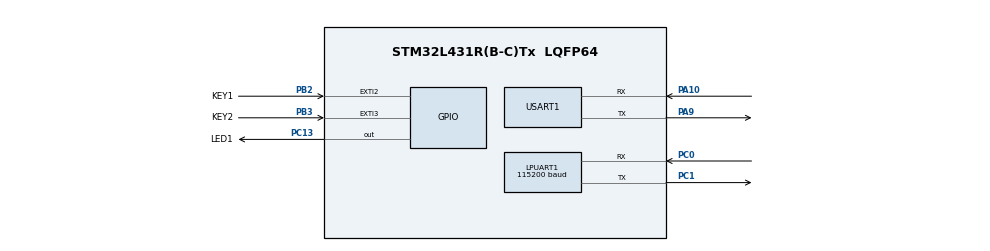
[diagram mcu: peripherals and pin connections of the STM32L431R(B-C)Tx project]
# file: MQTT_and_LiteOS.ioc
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Dma.LPUART_RX.1.Direction=DMA_PERIPH_TO_MEMORY
Dma.LPUART_RX.1.Instance=DMA2_Channel7
Dma.LPUART_RX.1.MemDataAlignment=DMA_MDATAALIGN_BYTE
Dma.LPUART_RX.1.MemInc=DMA_MINC_ENABLE
Dma.LPUART_RX.1.Mode=DMA_NORMAL
Dma.LPUART_RX.1.PeriphDataAlignment=DMA_PDATAALIGN_BYTE
Dma.LPUART_RX.1.PeriphInc=DMA_PINC_DISABLE
Dma.LPUART_RX.1.Priority=DMA_PRIORITY_LOW
Dma.Request0=USART1_RX
Dma.Request1=LPUART_RX
Dma.USART1_RX.0.Direction=DMA_PERIPH_TO_MEMORY
Dma.USART1_RX.0.Instance=DMA1_Channel5
Dma.USART1_RX.0.MemDataAlignment=DMA_MDATAALIGN_BYTE
Dma.USART1_RX.0.MemInc=DMA_MINC_ENABLE
Dma.USART1_RX.0.Mode=DMA_NORMAL
Dma.USART1_RX.0.PeriphDataAlignment=DMA_PDATAALIGN_BYTE
Dma.USART1_RX.0.PeriphInc=DMA_PINC_DISABLE
Dma.USART1_RX.0.Priority=DMA_PRIORITY_LOW
LPUART1.BaudRate=115200
LPUART1.WordLength=UART_WORDLENGTH_8B
Mcu.Family=STM32L4
Mcu.Name=STM32L431R(B-C)Tx
Mcu.Package=LQFP64
NVIC.DMA1_Channel5_IRQn=true\:0\:0\:false\:false\:true\:false
NVIC.DMA2_Channel7_IRQn=true\:0\:0\:false\:false\:true\:false
NVIC.EXTI2_IRQn=true\:0\:0\:false\:false\:true\:true
NVIC.EXTI3_IRQn=true\:0\:0\:false\:false\:true\:true
NVIC.LPUART1_IRQn=true\:0\:0\:false\:true\:true\:1\:true
NVIC.PriorityGroup=NVIC_PRIORITYGROUP_4
NVIC.USART1_IRQn=true\:0\:0\:false\:true\:true\:2\:true
PA10.Mode=Asynchronous
PA10.Signal=USART1_RX
PA9.Mode=Asynchronous
PA9.Signal=USART1_TX
PB2.GPIO_Label=KEY1
PB2.GPIO_ModeDefaultEXTI=GPIO_MODE_IT_FALLING
PB2.GPIO_PuPd=GPIO_PULLUP
PB2.Signal=GPXTI2
PB3\ (JTDO-TRACESWO).GPIO_Label=KEY2
PB3\ (JTDO-TRACESWO).GPIO_ModeDefaultEXTI=GPIO_MODE_IT_FALLING
PB3\ (JTDO-TRACESWO).GPIO_PuPd=GPIO_PULLUP
PB3\ (JTDO-TRACESWO).Signal=GPXTI3
PC0.Mode=Asynchronous
PC0.Signal=LPUART1_RX
PC1.Mode=Asynchronous
PC1.Signal=LPUART1_TX
PC13.GPIO_Label=LED1
PC13.Signal=GPIO_Output
PC14-OSC32_IN\ (PC14).Mode=LSE-External-Oscillator
PC14-OSC32_IN\ (PC14).Signal=RCC_OSC32_IN
PC15-OSC32_OUT\ (PC15).Mode=LSE-External-Oscillator
PC15-OSC32_OUT\ (PC15).Signal=RCC_OSC32_OUT
PH0-OSC_IN\ (PH0).Mode=HSE-External-Oscillator
PH0-OSC_IN\ (PH0).Signal=RCC_OSC_IN
PH1-OSC_OUT\ (PH1).Mode=HSE-External-Oscillator
PH1-OSC_OUT\ (PH1).Signal=RCC_OSC_OUT
ProjectManager.HeapSize=0x200
ProjectManager.StackSize=0x400
ProjectManager.TargetToolchain=MDK-ARM V5
RCC.HSE_VALUE=8000000
RCC.HSI48_VALUE=48000000
RCC.HSI_VALUE=16000000
RCC.MSI_VALUE=4000000
RCC.VCOOutputFreq_Value=32000000
USART1.VirtualMode-Asynchronous=VM_ASYNC
board=custom

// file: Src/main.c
/**
  ******************************************************************************
  * @file           : main.c
  * @brief          : Main program body
  ******************************************************************************
  ** This notice applies to any and all portions of this file
  * that are not between comment pairs USER CODE BEGIN and
  * USER CODE END. Other portions of this file, whether
  * inserted by the user or by software development tools
  * are owned by their respective copyright owners.
  *
  * COPYRIGHT(c) 2020 STMicroelectronics
  *
  * Redistribution and use in source and binary forms, with or without modification,
  * are permitted provided that the following conditions are met:
  *   1. Redistributions of source code must retain the above copyright notice,
  *      this list of conditions and the following disclaimer.
  *   2. Redistributions in binary form must reproduce the above copyright notice,
  *      this list of conditions and the following disclaimer in the documentation
  *      and/or other materials provided with the distribution.
  *   3. Neither the name of STMicroelectronics nor the names of its contributors
  *      may be used to endorse or promote products derived from this software
  *      without specific prior written permission.
  *
  * THIS SOFTWARE IS PROVIDED BY THE COPYRIGHT HOLDERS AND CONTRIBUTORS "AS IS"
  * AND ANY EXPRESS OR IMPLIED WARRANTIES, INCLUDING, BUT NOT LIMITED TO, THE
  * IMPLIED WARRANTIES OF MERCHANTABILITY AND FITNESS FOR A PARTICULAR PURPOSE ARE
  * DISCLAIMED. IN NO EVENT SHALL THE COPYRIGHT HOLDER OR CONTRIBUTORS BE LIABLE
  * FOR ANY DIRECT, INDIRECT, INCIDENTAL, SPECIAL, EXEMPLARY, OR CONSEQUENTIAL
  * DAMAGES (INCLUDING, BUT NOT LIMITED TO, PROCUREMENT OF SUBSTITUTE GOODS OR
  * SERVICES; LOSS OF USE, DATA, OR PROFITS; OR BUSINESS INTERRUPTION) HOWEVER
  * CAUSED AND ON ANY THEORY OF LIABILITY, WHETHER IN CONTRACT, STRICT LIABILITY,
  * OR TORT (INCLUDING NEGLIGENCE OR OTHERWISE) ARISING IN ANY WAY OUT OF THE USE
  * OF THIS SOFTWARE, EVEN IF ADVISED OF THE POSSIBILITY OF SUCH DAMAGE.
  *
  ******************************************************************************
  */
#include "main.h"
#include "stm32l4xx_hal.h"
#include "dma.h"
#include "usart.h"
#include "gpio.h"

/* USER CODE BEGIN Includes */
#include <stdio.h>
#include <stdlib.h>
#include "los_sys.h"
#include "los_task.ph"
#include "los_memory.ph"
#include "los_base.h"
#include <string.h>
#include "los_sem.h"
#include <time.h>
#include "queue.h"
#include "hex_dec.h"
#include "los_swtmr.h"

/* USER CODE END Includes */

/* USER CODE BEGIN PV */
/* Private variables ---------------------------------------------------------*/
#define MAX_RCV_LEN 1024
uint8_t data[MAX_RCV_LEN];
uint8_t data2[MAX_RCV_LEN];
uint8_t reply_from_lpuart1[MAX_RCV_LEN];
uint8_t KEY1_flag=0;
uint8_t KEY2_flag=0;
uint8_t alive_flag=0;
uint16_t lpuart1_recv_len=0;
uint16_t uart1_recv_len=0;

//123.56.118.82
uint8_t cmd_CRE_SOC[]={"AT+NSOCR=DGRAM,17,0\r\n"};//通过NB创建SOCKET，端口号随机

uint8_t SERVER_IP[] = {"39.102.103.94"};
uint8_t SERVER_PORT[] = {"8887"};

uint8_t send_cmd[1024];

uint8_t cmd_msg_reply[]={"AT+NSONMI=3\r\n"};//接收到信息直接报告，格式"+NSONMI: <socket>,<length>,<data>"

uint8_t cmd_msg_read[20]={"AT+NSORF=2,2\r\n"};
uint8_t cmd_msg_notice[]={"NSONMI"};
uint8_t receive_msg[MAX_RCV_LEN]={"\0"};
uint8_t cmd_msg_clear[]={"AT+NSORF=2,1000\r\n"};

uint8_t OK[]={"OK"};
//uint8_t send_cmd[128]={"AT+NSOSD=0,"};

uint8_t send_cmd_udp[128]={"AT+NSOST=0,"};

uint8_t NB_socket[1];
uint8_t shuzi[]={"0123456789"};

uint8_t cmd_CGATT[]={"AT+CGATT?\r\n"};//查询是否注网
uint8_t CGATT[]={"+CGATT:1"};

//定义全局的信息标志
uint8_t message_flag = 0;
int message_n = 0;

//初始化消息队列
	sqQueue mes_Q;

//定义周期性的定时器
UINT16 id1;// timer id

void USART_IDLECallBack(void);
void LPUART_IDLECallBack(void);
int mysizeof(uint8_t* cmd);
uint8_t* mystrstr(uint8_t* src,uint8_t* sub);

UINT32 LED_Task_Handle;
UINT32 ALIVE_Task_Handle;
UINT32 udpsocket_Task_Handle;
UINT32 CGATT_Task_Handle;
UINT32 FIRST_READ_Task_Handle;
UINT32 THINK_Task_Handle;
UINT32 CLEAR_Task_Handle;
UINT32 COMPREHENSION_Task_Handle;

UINT32 SUB_Binary;
UINT32 UDP_Binary;
UINT32 READ_Binary;
UINT32 THINK_Binary;

uint8_t NB_create_tcpsocket()
{
	int i=0;
	for(i=0;i<=20;i++)
	{
		HAL_UART_Transmit(&hlpuart1,cmd_CRE_SOC,mysizeof(cmd_CRE_SOC),0xff);
		LOS_TaskDelay(1000);
		if(NULL!=mystrstr(reply_from_lpuart1,OK))
		{
			NB_socket[0]=reply_from_lpuart1[2];
			printf("创建socket成功\r\n");
			break;
		}
	}
	if(21==i)
	{
		printf("创建socket失败\r\n");
		return 0;
	}

	LOS_TaskDelay(1000);
	for(i=0;i<=20;i++)
	{
		HAL_UART_Transmit(&hlpuart1,cmd_msg_reply,mysizeof(cmd_msg_reply),0xff);
		LOS_TaskDelay(1000);
		if(NULL!=mystrstr(reply_from_lpuart1,OK))
		{
			printf("cmd_msg_reply成功\r\n");
			break;
		}
	}
	if(21==i)
	{
		printf("cmd_msg_reply失败\r\n");
		return 0;
	}

	return 1;

}

uint8_t send_UDP_to_Ali(uint8_t* NB_socket,int n)
{

	//send_cmd[]={"AT+NSOST=2,123.56.240.120,8887,2,3132\r\n"};

	uint8_t n_string[20];
	uint8_t n_string_hex[40];
	memset(n_string_hex,0,40);

	sprintf(n_string,"s%d",n);
	arrayToStr(n_string,n_string_hex);
	//printf("n = %d,n_string = %s,n_stringlen= %d,n_string_hex = %s\r\n",n,n_string,strlen(n_string),n_string_hex);
	int n_size = (strlen(n_string))/2;
	memset(send_cmd,0,1024);
	sprintf(send_cmd,"AT+NSOST=%s,%s,%s,%d,%s\r\n",NB_socket,SERVER_IP,SERVER_PORT,strlen(n_string_hex)/2,n_string_hex);
	//printf("send_mes%s\r\n",send_cmd);

	int i=0;
	int j=0;

	for(j=0;j<=20;j++)
	{
		HAL_UART_Transmit(&hlpuart1,send_cmd,mysizeof(send_cmd),0xff);
		LOS_TaskDelay(50);
		if(NULL!=mystrstr(reply_from_lpuart1,OK))
		{
			printf("发送msg成功\r\n");
			break;
		}
	}
	if(21==j)
	{
		printf("发送msg失败\r\n");
		return 0;
	}

	return 1;
}

void LED_task()
{
	while(1)
	{
		HAL_GPIO_TogglePin(LED1_GPIO_Port,LED1_Pin);
		LOS_TaskDelay(10000);
	}
}

void alive_task()
{
	while(1)
	{
		LOS_TaskDelay(60000+(rand()%1000));
		if(send_UDP_to_Ali(NB_socket,message_n) == 1){
			printf("sendACK%d\n",message_n);

			UINT32 uwRet = LOS_OK;
			uwRet = LOS_SwtmrStart(id1);//启动单次软件定时器
			if(LOS_OK != uwRet)
			{
					printf("start Timer1 failed\n");
			}
			else
			{
					printf("start Timer1 sucess\n");
			}
		}

	}
}

void comprehension_task()
{
	while(1)
	{
		LOS_TaskDelay(5);
		char temp[100];
		while(DeQueue(&mes_Q,temp)){
			printf("tmep:%s\r\n",temp);
			if(mystrstr(temp,"+NSONMI")){

				uint8_t* s =strstr(temp,",");
				//printf("s1 : %s",s);
				s = strstr(s+1,",");
				//printf("s2 : %s",s);
				//printf("s2+3 : %s",s+3);
				int n = Fixed_key(s+3);
				//printf("n = %d,message_n = %d\r\n",n,message_n);
				if(n<message_n){
					continue;
				}
				printf("ACK%d\n",n);
				message_n +=1;
				UINT32 uwRet = LOS_OK;
				uwRet = LOS_SwtmrStop(id1);//停止周期软件定时器1

				if(LOS_OK != uwRet)
				{
						printf("stop Timer1 failed\n");
				}
				else
				{
						printf("stop Timer1 sucess\n");
				}

			}
			memset(temp,0,100);
		}
	}
}

void timer1_callback()
{
	if(send_UDP_to_Ali(NB_socket,message_n) == 1){
		printf("buchang:%d\r\n",message_n);
	}
}

void udpsocket_task()
{
	while(1)
	{
		LOS_SemPend(UDP_Binary,LOS_WAIT_FOREVER);
		uint8_t uwet=NB_create_tcpsocket();
		if(uwet==1)
			LOS_TaskResume(ALIVE_Task_Handle);
	}
}

void CGATT_task()
{
	while(1)
	{
		LOS_TaskDelay(5000);
		for(int i=0;i<10;i++)
		{
			HAL_UART_Transmit(&hlpuart1,cmd_CGATT,mysizeof(cmd_CGATT),0xff);
			LOS_TaskDelay(1000);
			if(NULL!=mystrstr(reply_from_lpuart1,CGATT))
			{
				LOS_SemPost(UDP_Binary);
				LOS_TaskSuspend(CGATT_Task_Handle);
			}
		}
	}
}

static UINT32 AppTaskCreate(void)
{

	UINT32 uwRet = LOS_OK;

	uwRet=LOS_SemCreate(1,&UDP_Binary);
	if (uwRet != LOS_OK)
	{
			printf("UDP_Binary create failed,%X\n",uwRet);
			return uwRet;
	}

	TSK_INIT_PARAM_S task_init_param;

	task_init_param.usTaskPrio = 6;
	task_init_param.pcName = "LEDTask";
	task_init_param.pfnTaskEntry = (TSK_ENTRY_FUNC)LED_task;
	task_init_param.uwStackSize = 1024;
	uwRet = LOS_TaskCreate(&LED_Task_Handle, &task_init_param);
	if (uwRet != LOS_OK)
	{
			printf("LEDtask create failed,%X\n",uwRet);
			return uwRet;
	}

	task_init_param.usTaskPrio = 5;
	task_init_param.pcName = "aliveTask";
	task_init_param.pfnTaskEntry = (TSK_ENTRY_FUNC)alive_task;
	task_init_param.uwStackSize = 1024;
	uwRet = LOS_TaskCreate(&ALIVE_Task_Handle, &task_init_param);
	if (uwRet != LOS_OK)
	{
			printf("ALIVEtask create failed,%X\n",uwRet);
			return uwRet;
	}

	task_init_param.usTaskPrio = 3;
	task_init_param.pcName = "UDPTask";
	task_init_param.pfnTaskEntry = (TSK_ENTRY_FUNC)udpsocket_task;
	task_init_param.uwStackSize = 1024;
	uwRet = LOS_TaskCreate(&udpsocket_Task_Handle, &task_init_param);
	if (uwRet != LOS_OK)
	{
			printf("udptask create failed,%X\n",uwRet);
			return uwRet;
	}

	task_init_param.usTaskPrio = 3;
	task_init_param.pcName = "CGATTTask";
	task_init_param.pfnTaskEntry = (TSK_ENTRY_FUNC)CGATT_task;
	task_init_param.uwStackSize = 1024;
	uwRet = LOS_TaskCreate(&CGATT_Task_Handle, &task_init_param);
	if (uwRet != LOS_OK)
	{
			printf("CGATTTask create failed,%X\n",uwRet);
			return uwRet;
	}

	task_init_param.usTaskPrio = 0;
	task_init_param.pcName = "comprehension_task";
	task_init_param.pfnTaskEntry = (TSK_ENTRY_FUNC)comprehension_task;
	task_init_param.uwStackSize = 1024;
	uwRet = LOS_TaskCreate(&COMPREHENSION_Task_Handle, &task_init_param);
	if (uwRet != LOS_OK)
	{
			printf("COMPREHENSION_Task create failed,%X\n",uwRet);
			return uwRet;
	}

	return LOS_OK;
}

/* USER CODE END PV */

void SystemClock_Config(void);
static void MX_NVIC_Init(void);

/* USER CODE BEGIN PFP */
/* Private function prototypes -----------------------------------------------*/

/* USER CODE END PFP */

int main(void)
{

  /* MCU Configuration----------------------------------------------------------*/

  /* Reset of all peripherals, Initializes the Flash interface and the Systick. */
  HAL_Init();

  /* Configure the system clock */
  SystemClock_Config();

  /* Initialize all configured peripherals */
  MX_GPIO_Init();
  MX_DMA_Init();
  MX_USART1_UART_Init();
  MX_LPUART1_UART_Init();

  /* Initialize interrupts */
  MX_NVIC_Init();
  /* USER CODE BEGIN 2 */

	memset(data,0,MAX_RCV_LEN);
	memset(data2,0,MAX_RCV_LEN);
	memset(reply_from_lpuart1,0,MAX_RCV_LEN);

	__HAL_UART_ENABLE_IT(&huart1,UART_IT_IDLE);
	__HAL_UART_ENABLE_IT(&hlpuart1,UART_IT_IDLE);
	HAL_UART_Receive_DMA(&huart1,data2,MAX_RCV_LEN);
	HAL_UART_Receive_DMA(&hlpuart1,data,MAX_RCV_LEN);

//创建一个随机种子，解决函数中因为定时所可能出现的碰撞问题，
  srand((unsigned)time(NULL));

//初始化消息队列
	InitQueue(&mes_Q);

	UINT32 uwRet = LOS_OK;
	LOS_KernelInit();
  uwRet = AppTaskCreate();
  if(uwRet != LOS_OK) {
      printf("LOS Creat task failed\r\n");
      //return LOS_NOK;
  }
	else printf("LOS Creat task OK\r\n");

	LOS_SemPend(UDP_Binary,50);

	LOS_TaskSuspend(ALIVE_Task_Handle);

	/*创建周期性软件定时器，每1000ms数执行回调函数1 */
	UINT32 uwTick;

  uwTick = LOS_MS2Tick(1000);//1000 ms数转换为Tick数
  uwRet = LOS_SwtmrCreate(uwTick,LOS_SWTMR_MODE_PERIOD,timer1_callback,&id1,1);

  if(LOS_OK != uwRet)
  {
      printf("create Timer1 failed\n");
  }
  else
  {
      printf("create Timer1 success\n");
  }

	LOS_Start();

  /* USER CODE END 2 */

  /* Infinite loop */
  while (1)
  {

  }

}

void SystemClock_Config(void)
{

  RCC_OscInitTypeDef RCC_OscInitStruct;
  RCC_ClkInitTypeDef RCC_ClkInitStruct;
  RCC_PeriphCLKInitTypeDef PeriphClkInit;

    /**Configure LSE Drive Capability
    */
  HAL_PWR_EnableBkUpAccess();

  __HAL_RCC_LSEDRIVE_CONFIG(RCC_LSEDRIVE_LOW);

    /**Initializes the CPU, AHB and APB busses clocks
    */
  RCC_OscInitStruct.OscillatorType = RCC_OSCILLATORTYPE_LSE|RCC_OSCILLATORTYPE_MSI;
  RCC_OscInitStruct.LSEState = RCC_LSE_ON;
  RCC_OscInitStruct.MSIState = RCC_MSI_ON;
  RCC_OscInitStruct.MSICalibrationValue = 0;
  RCC_OscInitStruct.MSIClockRange = RCC_MSIRANGE_6;
  RCC_OscInitStruct.PLL.PLLState = RCC_PLL_NONE;
  if (HAL_RCC_OscConfig(&RCC_OscInitStruct) != HAL_OK)
  {
    _Error_Handler(__FILE__, __LINE__);
  }

    /**Initializes the CPU, AHB and APB busses clocks
    */
  RCC_ClkInitStruct.ClockType = RCC_CLOCKTYPE_HCLK|RCC_CLOCKTYPE_SYSCLK
                              |RCC_CLOCKTYPE_PCLK1|RCC_CLOCKTYPE_PCLK2;
  RCC_ClkInitStruct.SYSCLKSource = RCC_SYSCLKSOURCE_MSI;
  RCC_ClkInitStruct.AHBCLKDivider = RCC_SYSCLK_DIV1;
  RCC_ClkInitStruct.APB1CLKDivider = RCC_HCLK_DIV1;
  RCC_ClkInitStruct.APB2CLKDivider = RCC_HCLK_DIV1;

  if (HAL_RCC_ClockConfig(&RCC_ClkInitStruct, FLASH_LATENCY_0) != HAL_OK)
  {
    _Error_Handler(__FILE__, __LINE__);
  }

  PeriphClkInit.PeriphClockSelection = RCC_PERIPHCLK_USART1|RCC_PERIPHCLK_LPUART1;
  PeriphClkInit.Usart1ClockSelection = RCC_USART1CLKSOURCE_PCLK2;
  PeriphClkInit.Lpuart1ClockSelection = RCC_LPUART1CLKSOURCE_PCLK1;
  if (HAL_RCCEx_PeriphCLKConfig(&PeriphClkInit) != HAL_OK)
  {
    _Error_Handler(__FILE__, __LINE__);
  }

    /**Configure the main internal regulator output voltage
    */
  if (HAL_PWREx_ControlVoltageScaling(PWR_REGULATOR_VOLTAGE_SCALE1) != HAL_OK)
  {
    _Error_Handler(__FILE__, __LINE__);
  }

    /**Configure the Systick interrupt time
    */
  HAL_SYSTICK_Config(HAL_RCC_GetHCLKFreq()/1000);

    /**Configure the Systick
    */
  HAL_SYSTICK_CLKSourceConfig(SYSTICK_CLKSOURCE_HCLK);

    /**Enable MSI Auto calibration
    */
  HAL_RCCEx_EnableMSIPLLMode();

  /* SysTick_IRQn interrupt configuration */
  HAL_NVIC_SetPriority(SysTick_IRQn, 0, 0);
}

/**
  * @brief NVIC Configuration.
  * @retval None
  */
static void MX_NVIC_Init(void)
{
  /* LPUART1_IRQn interrupt configuration */
  HAL_NVIC_SetPriority(LPUART1_IRQn, 0, 0);
  HAL_NVIC_EnableIRQ(LPUART1_IRQn);
  /* USART1_IRQn interrupt configuration */
  HAL_NVIC_SetPriority(USART1_IRQn, 0, 0);
  HAL_NVIC_EnableIRQ(USART1_IRQn);
}

/* USER CODE BEGIN 4 */

void HAL_UART_RxCpltCallback(UART_HandleTypeDef *huart)
{
	if(huart->Instance==USART1)
	{

	}
	if(huart->Instance==LPUART1)
	{

	}
}

void USART_IDLECallBack()
{

	__HAL_UART_CLEAR_IDLEFLAG(&huart1);
	HAL_UART_DMAStop(&huart1);
	int len=0;
	len=mysizeof(data2);
	HAL_UART_Transmit(&hlpuart1,data2,len,0xff);
	memset(data2,0,MAX_RCV_LEN);
	HAL_UART_Receive_DMA(&huart1,data2,MAX_RCV_LEN);

}

void LPUART_IDLECallBack()
{
	__HAL_UART_CLEAR_IDLEFLAG(&hlpuart1);
	LOS_TaskDelay(20);
	HAL_UART_DMAStop(&hlpuart1);
	//printf("data:%s",data);

	EnQueue(&mes_Q,data);
	memcpy(reply_from_lpuart1,data,MAX_RCV_LEN);
	memset(data,0,MAX_RCV_LEN);
	HAL_UART_Receive_DMA(&hlpuart1,data,MAX_RCV_LEN);
}

void HAL_GPIO_EXTI_Callback(uint16_t GPIO_Pin)
{
	if(GPIO_Pin==KEY1_Pin)
	{

	}
	if(GPIO_Pin==KEY2_Pin)
	{

	}
}

int mysizeof(uint8_t* cmd)
{
	int len=0;
	for(int i=0;*(cmd+i)!='\r';i++)
	{
		len++;
	}
	len+=2;
	return len;
}

uint8_t* mystrstr(uint8_t* src,uint8_t* sub)
{

		uint8_t *bp;
    uint8_t *sp;
    if(!src||!sub)
    {
        return src;
    }
    /* 遍历src字符串  */
    while(*src)
    {
        /* 用来遍历子串 */
        bp=src;
        sp=sub;
        do
        {
          if(!*sp)  /*到了sub的结束位置，返回src位置   */
                return src;
        }while(*bp++==*sp++);
        src++;
    }
    return NULL;

}

int fputc (int ch,FILE* f)
{
	uint8_t temp[1]={ch};
	HAL_UART_Transmit(&huart1,temp,1,2);
	return HAL_OK;
}

time_t time(time_t *p)
  {
    return 0;

  }

/* USER CODE END 4 */

void _Error_Handler(char *file, int line)
{
  while(1)
  {
  }
}

/************************ (C) COPYRIGHT STMicroelectronics *****END OF FILE****/
